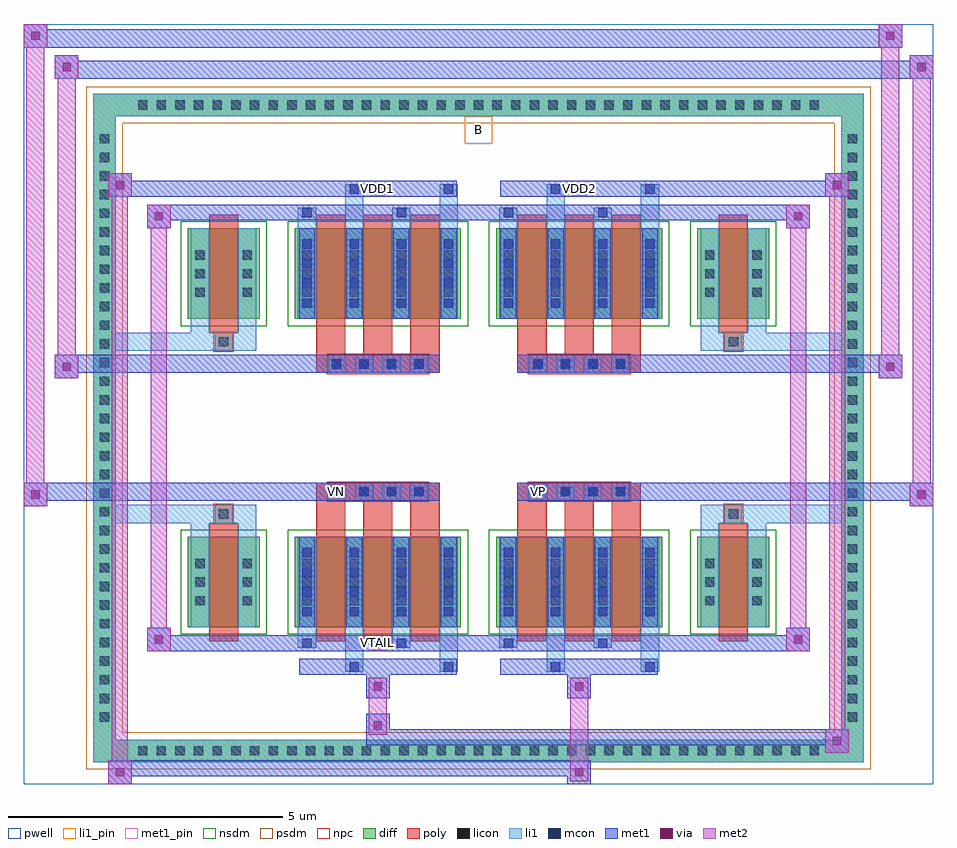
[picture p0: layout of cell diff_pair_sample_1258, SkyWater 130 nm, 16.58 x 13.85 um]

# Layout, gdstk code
import gdstk
lib = gdstk.Library(unit=1e-6, precision=5e-09)
def R(c, l, rs):  # rectangles x0, y0, x1, y1
    for r in rs: c.add(gdstk.rectangle(r[:2], r[2:], *l))
def A(c, l, x, y, w, h, nx, ny, dx, dy):  # array of equal rectangles
    R(c, l, [(x+i*dx, y+j*dy, x+i*dx+w, y+j*dy+h) for i in range(nx) for j in range(ny)])
def P(c, l, *ps):  # polygons
    for p in ps: c.add(gdstk.Polygon(p, *l))
pwell = (64, 44)
diff = (65, 20)
poly = (66, 20)
licon = (66, 44)
li1_pin = (67, 16)
li1 = (67, 20)
mcon = (67, 44)
met1_pin = (68, 16)
met1 = (68, 20)
via = (68, 44)
met2 = (69, 20)
nsdm = (93, 44)
psdm = (94, 20)
npc = (95, 20)

diff_pair_sample_1258 = lib.new_cell('diff_pair_sample_1258')
R(diff_pair_sample_1258, pwell, [(-8.29,-6.49,8.29,7.36), (-5.61,-4.68,-0.01,-0.8), (0.01,-4.68,5.61,-0.8), (-5.61,0.8,-0.01,4.68), (0.01,0.8,5.61,4.68)])
A(diff_pair_sample_1258, diff, -6.325, -6.09, 0.41, 0.41, 37, 2, 0.34, 11.77)
A(diff_pair_sample_1258, diff, -7.02, -5.475, 0.41, 0.41, 1, 32, 0, 0.34)
A(diff_pair_sample_1258, diff, 6.61, -5.475, 0.41, 0.41, 1, 32, 0, 0.34)
R(diff_pair_sample_1258, diff, [(-6.325,-6.09,6.325,-5.68), (-7.02,-5.475,-6.61,5.475), (6.61,-5.475,7.02,5.475), (-5.3,-3.635,-3.99,-1.985), (-3.35,-3.635,-0.32,-1.985), (0.32,-3.635,3.35,-1.985), (3.99,-3.635,5.3,-1.985), (-5.3,1.985,-3.99,3.635), (-3.35,1.985,-0.32,3.635), (0.32,1.985,3.35,3.635), (3.99,1.985,5.3,3.635), (-6.325,5.68,6.325,6.09)])
P(diff_pair_sample_1258, diff, [(7.02,6.09),(-7.02,6.09),(-7.02,-5.68),(-6.61,-5.68),(-6.61,5.68),(6.61,5.68),(6.61,-5.68),(-6.61,-5.68),(-7.02,-5.68),(-7.02,-6.09),(7.02,-6.09)])
A(diff_pair_sample_1258, poly, -2.96, -3.885, 0.53, 2.15, 3, 2, 0.86, 5.62)
A(diff_pair_sample_1258, poly, 0.71, -3.885, 0.53, 2.15, 3, 2, 0.86, 5.62)
A(diff_pair_sample_1258, poly, -2.96, -1.735, 0.53, 0.405, 3, 2, 0.86, 3.065)
A(diff_pair_sample_1258, poly, 0.71, -1.735, 0.53, 0.405, 3, 2, 0.86, 3.065)
A(diff_pair_sample_1258, poly, -2.75, -1.33, 0.33, 0.33, 4, 2, 0.5, 2.33)
A(diff_pair_sample_1258, poly, 0.92, -1.33, 0.33, 0.33, 4, 2, 0.5, 2.33)
R(diff_pair_sample_1258, poly, [(-4.91,-3.885,-4.38,-1.735), (4.38,-3.885,4.91,-1.735), (-4.81,-1.735,-4.48,-1.405), (-4.81,-1.735,-4.48,-1.405), (4.48,-1.735,4.81,-1.405), (4.48,-1.735,4.81,-1.405), (-2.96,-1.33,-0.71,-1), (0.71,-1.33,2.96,-1), (-2.96,1,-0.71,1.33), (0.71,1,2.96,1.33), (-4.81,1.405,-4.48,1.735), (-4.81,1.405,-4.48,1.735), (4.48,1.405,4.81,1.735), (4.48,1.405,4.81,1.735), (-4.91,1.735,-4.38,3.885), (4.38,1.735,4.91,3.885)])
A(diff_pair_sample_1258, licon, -6.205, -5.97, 0.17, 0.17, 37, 2, 0.34, 11.77)
A(diff_pair_sample_1258, licon, -6.9, -5.355, 0.17, 0.17, 1, 32, 0, 0.34)
A(diff_pair_sample_1258, licon, 6.73, -5.355, 0.17, 0.17, 1, 32, 0, 0.34)
A(diff_pair_sample_1258, licon, -5.16, -3.235, 0.17, 0.17, 1, 3, 0, 0.34)
A(diff_pair_sample_1258, licon, -4.3, -3.235, 0.17, 0.17, 1, 3, 0, 0.34)
A(diff_pair_sample_1258, licon, -3.21, -3.235, 0.17, 0.17, 4, 3, 0.86, 0.34)
A(diff_pair_sample_1258, licon, 0.46, -3.235, 0.17, 0.17, 4, 3, 0.86, 0.34)
A(diff_pair_sample_1258, licon, 4.13, -3.235, 0.17, 0.17, 1, 3, 0, 0.34)
A(diff_pair_sample_1258, licon, 4.99, -3.235, 0.17, 0.17, 1, 3, 0, 0.34)
A(diff_pair_sample_1258, licon, -2.67, -1.25, 0.17, 0.17, 4, 2, 0.5, 2.33)
A(diff_pair_sample_1258, licon, 1, -1.25, 0.17, 0.17, 4, 2, 0.5, 2.33)
A(diff_pair_sample_1258, licon, -5.16, 2.385, 0.17, 0.17, 1, 3, 0, 0.34)
A(diff_pair_sample_1258, licon, -4.3, 2.385, 0.17, 0.17, 1, 3, 0, 0.34)
A(diff_pair_sample_1258, licon, -3.21, 2.385, 0.17, 0.17, 4, 3, 0.86, 0.34)
A(diff_pair_sample_1258, licon, 0.46, 2.385, 0.17, 0.17, 4, 3, 0.86, 0.34)
A(diff_pair_sample_1258, licon, 4.13, 2.385, 0.17, 0.17, 1, 3, 0, 0.34)
A(diff_pair_sample_1258, licon, 4.99, 2.385, 0.17, 0.17, 1, 3, 0, 0.34)
R(diff_pair_sample_1258, licon, [(-4.73,-1.655,-4.56,-1.485), (4.56,-1.655,4.73,-1.485), (-4.73,1.485,-4.56,1.655), (4.56,1.485,4.73,1.655)])
R(diff_pair_sample_1258, li1_pin, [(-0.25,5.18,0.25,5.68)])
A(diff_pair_sample_1258, li1, -6.285, -6.05, 0.33, 0.33, 37, 2, 0.34, 11.77)
A(diff_pair_sample_1258, li1, -6.98, -5.435, 0.33, 0.33, 1, 32, 0, 0.34)
A(diff_pair_sample_1258, li1, 6.65, -5.435, 0.33, 0.33, 1, 32, 0, 0.34)
A(diff_pair_sample_1258, li1, -3.29, -3.635, 0.33, 1.65, 4, 2, 0.86, 5.62)
A(diff_pair_sample_1258, li1, 0.38, -3.635, 0.33, 1.65, 4, 2, 0.86, 5.62)
A(diff_pair_sample_1258, li1, -3.21, -3.435, 0.17, 0.17, 4, 4, 0.86, 0.36)
A(diff_pair_sample_1258, li1, -3.21, -3.435, 0.17, 1.25, 4, 2, 0.86, 5.62)
A(diff_pair_sample_1258, li1, 0.46, -3.435, 0.17, 0.17, 4, 4, 0.86, 0.36)
A(diff_pair_sample_1258, li1, 0.46, -3.435, 0.17, 1.25, 4, 2, 0.86, 5.62)
A(diff_pair_sample_1258, li1, -5.24, -3.315, 0.33, 0.33, 1, 3, 0, 0.34)
A(diff_pair_sample_1258, li1, -4.38, -3.315, 0.33, 0.33, 1, 3, 0, 0.34)
A(diff_pair_sample_1258, li1, -3.29, -3.315, 0.33, 0.33, 4, 3, 0.86, 0.34)
A(diff_pair_sample_1258, li1, 0.38, -3.315, 0.33, 0.33, 4, 3, 0.86, 0.34)
A(diff_pair_sample_1258, li1, 4.05, -3.315, 0.33, 0.33, 1, 3, 0, 0.34)
A(diff_pair_sample_1258, li1, 4.91, -3.315, 0.33, 0.33, 1, 3, 0, 0.34)
A(diff_pair_sample_1258, li1, -2.75, -1.33, 0.33, 0.33, 4, 2, 0.5, 2.33)
A(diff_pair_sample_1258, li1, 0.92, -1.33, 0.33, 0.33, 4, 2, 0.5, 2.33)
A(diff_pair_sample_1258, li1, -3.21, 2.185, 0.17, 0.17, 4, 4, 0.86, 0.36)
A(diff_pair_sample_1258, li1, 0.46, 2.185, 0.17, 0.17, 4, 4, 0.86, 0.36)
A(diff_pair_sample_1258, li1, -5.24, 2.305, 0.33, 0.33, 1, 3, 0, 0.34)
A(diff_pair_sample_1258, li1, -4.38, 2.305, 0.33, 0.33, 1, 3, 0, 0.34)
A(diff_pair_sample_1258, li1, -3.29, 2.305, 0.33, 0.33, 4, 3, 0.86, 0.34)
A(diff_pair_sample_1258, li1, 0.38, 2.305, 0.33, 0.33, 4, 3, 0.86, 0.34)
A(diff_pair_sample_1258, li1, 4.05, 2.305, 0.33, 0.33, 1, 3, 0, 0.34)
A(diff_pair_sample_1258, li1, 4.91, 2.305, 0.33, 0.33, 1, 3, 0, 0.34)
R(diff_pair_sample_1258, li1, [(-7.02,-6.09,-6.61,-5.68), (-7.02,-6.09,-6.61,-5.68), (-6.61,-6.09,6.61,-5.68), (6.61,-6.09,7.02,-5.68), (6.61,-6.09,7.02,-5.68), (-7.02,-5.68,-6.61,5.68), (6.61,-5.68,7.02,5.68), (-2.43,-4.44,-2.1,-3.635), (-2.35,-4.44,-2.18,-4.27), (-0.71,-4.44,-0.38,-3.635), (-0.63,-4.44,-0.46,-4.27), (1.24,-4.44,1.57,-3.635), (1.32,-4.44,1.49,-4.27), (2.96,-4.44,3.29,-3.635), (3.04,-4.44,3.21,-4.27), (-3.29,-4.01,-2.96,-3.635), (-3.21,-4.01,-3.04,-3.84), (-1.57,-4.01,-1.24,-3.635), (-1.49,-4.01,-1.32,-3.84), (0.38,-4.01,0.71,-3.635), (0.46,-4.01,0.63,-3.84), (2.1,-4.01,2.43,-3.635), (2.18,-4.01,2.35,-3.84), (-5.24,-3.635,-4.91,-1.985), (-4.38,-3.635,-4.05,-1.985), (4.05,-3.635,4.38,-1.985), (4.91,-3.635,5.24,-1.985), (-5.24,-1.985,-4.91,-1.405), (-4.38,-1.985,-4.05,-1.405), (4.05,-1.985,4.38,-1.405), (4.91,-1.985,5.24,-1.405), (-7.02,-1.735,-4.81,-1.405), (-5.24,-1.735,-4.81,-1.405), (-4.81,-1.735,-4.48,-1.405), (-4.48,-1.735,-4.05,-1.405), (4.05,-1.735,4.48,-1.405), (4.48,-1.735,4.81,-1.405), (4.48,-1.735,7.02,-1.405), (4.81,-1.735,5.24,-1.405), (-7.02,1.405,-4.81,1.735), (-5.24,1.405,-4.81,1.735), (-5.24,1.405,-4.91,1.985), (-4.81,1.405,-4.48,1.735), (-4.48,1.405,-4.05,1.735), (-4.38,1.405,-4.05,1.985), (4.05,1.405,4.48,1.735), (4.05,1.405,4.38,1.985), (4.48,1.405,4.81,1.735), (4.48,1.405,7.02,1.735), (4.81,1.405,5.24,1.735), (4.91,1.405,5.24,1.985), (-5.24,1.985,-4.91,3.635), (-4.38,1.985,-4.05,3.635), (4.05,1.985,4.38,3.635), (4.91,1.985,5.24,3.635), (-3.29,3.635,-2.96,4.01), (-2.43,3.635,-2.1,4.44), (-1.57,3.635,-1.24,4.01), (-0.71,3.635,-0.38,4.44), (0.38,3.635,0.71,4.01), (1.24,3.635,1.57,4.44), (2.1,3.635,2.43,4.01), (2.96,3.635,3.29,4.44), (-3.21,3.84,-3.04,4.01), (-1.49,3.84,-1.32,4.01), (0.46,3.84,0.63,4.01), (2.18,3.84,2.35,4.01), (-2.35,4.27,-2.18,4.44), (-0.63,4.27,-0.46,4.44), (1.32,4.27,1.49,4.44), (3.04,4.27,3.21,4.44), (-7.02,5.68,-6.61,6.09), (-7.02,5.68,-6.61,6.09), (-6.61,5.68,6.61,6.09), (6.61,5.68,7.02,6.09), (6.61,5.68,7.02,6.09)])
A(diff_pair_sample_1258, mcon, -3.21, -3.435, 0.17, 0.17, 4, 4, 0.86, 0.36)
A(diff_pair_sample_1258, mcon, 0.46, -3.435, 0.17, 0.17, 4, 4, 0.86, 0.36)
A(diff_pair_sample_1258, mcon, -2.67, -1.25, 0.17, 0.17, 4, 2, 0.5, 2.33)
A(diff_pair_sample_1258, mcon, 1, -1.25, 0.17, 0.17, 4, 2, 0.5, 2.33)
A(diff_pair_sample_1258, mcon, -3.21, 2.185, 0.17, 0.17, 4, 4, 0.86, 0.36)
A(diff_pair_sample_1258, mcon, 0.46, 2.185, 0.17, 0.17, 4, 4, 0.86, 0.36)
R(diff_pair_sample_1258, mcon, [(-2.35,-4.44,-2.18,-4.27), (-0.63,-4.44,-0.46,-4.27), (1.32,-4.44,1.49,-4.27), (3.04,-4.44,3.21,-4.27), (-3.21,-4.01,-3.04,-3.84), (-1.49,-4.01,-1.32,-3.84), (0.46,-4.01,0.63,-3.84), (2.18,-4.01,2.35,-3.84), (-3.21,3.84,-3.04,4.01), (-1.49,3.84,-1.32,4.01), (0.46,3.84,0.63,4.01), (2.18,3.84,2.35,4.01), (-2.35,4.27,-2.18,4.44), (-0.63,4.27,-0.46,4.44), (1.32,4.27,1.49,4.44), (3.04,4.27,3.21,4.44)])
R(diff_pair_sample_1258, met1_pin, [(-1.97,-4.05,-1.7,-3.78), (-2.72,-1.29,-2.45,-1.02), (0.95,-1.29,1.22,-1.02), (-1.97,4.23,-1.7,4.5), (1.7,4.23,1.97,4.5)])
A(diff_pair_sample_1258, met1, -3.27, -3.635, 0.29, 1.65, 4, 2, 0.86, 5.62)
A(diff_pair_sample_1258, met1, 0.4, -3.635, 0.29, 1.65, 4, 2, 0.86, 5.62)
A(diff_pair_sample_1258, met1, -3.27, -3.495, 0.29, 0.29, 4, 4, 0.86, 0.36)
A(diff_pair_sample_1258, met1, 0.4, -3.495, 0.29, 0.29, 4, 4, 0.86, 0.36)
A(diff_pair_sample_1258, met1, -2.73, -1.31, 0.29, 0.29, 4, 2, 0.5, 2.33)
A(diff_pair_sample_1258, met1, 0.94, -1.31, 0.29, 0.29, 4, 2, 0.5, 2.33)
A(diff_pair_sample_1258, met1, -3.27, 2.125, 0.29, 0.29, 4, 4, 0.86, 0.36)
A(diff_pair_sample_1258, met1, 0.4, 2.125, 0.29, 0.29, 4, 4, 0.86, 0.36)
R(diff_pair_sample_1258, met1, [(-6.75,-6.49,-6.32,-6.06), (1.62,-6.49,2.05,-6.06), (-6.75,-6.35,2.05,-6.06), (6.32,-5.92,6.75,-5.49), (-2.05,-5.78,6.75,-5.49), (-2.05,-5.64,-1.62,-5.21), (-2.05,-4.93,-1.62,-4.5), (1.62,-4.93,2.05,-4.5), (-3.27,-4.5,-0.4,-4.21), (-2.41,-4.5,-2.12,-4.21), (-0.69,-4.5,-0.4,-4.21), (0.4,-4.5,3.27,-4.21), (1.26,-4.5,1.55,-4.21), (2.98,-4.5,3.27,-4.21), (-6.04,-4.07,-5.61,-3.64), (-6.04,-4.07,-3.27,-3.78), (-3.27,-4.07,-2.98,-3.78), (-3.27,-4.07,-0.4,-3.78), (-1.55,-4.07,-1.26,-3.78), (-0.4,-4.07,0.4,-3.78), (0.4,-4.07,0.69,-3.78), (0.4,-4.07,3.27,-3.78), (2.12,-4.07,2.41,-3.78), (3.27,-4.07,6.04,-3.78), (5.61,-4.07,6.04,-3.64), (-8.29,-1.43,-7.86,-1), (7.86,-1.43,8.29,-1), (-8.29,-1.33,-0.71,-1), (-2.96,-1.33,-0.71,-1), (0.71,-1.33,2.96,-1), (0.71,-1.33,8.29,-1), (-7.72,0.9,-7.29,1.33), (7.29,0.9,7.72,1.33), (-7.72,1,-2.96,1.33), (-2.96,1,-0.71,1.33), (0.71,1,2.96,1.33), (2.96,1,7.72,1.33), (-6.04,3.64,-5.61,4.07), (5.61,3.64,6.04,4.07), (-6.04,3.78,-3.27,4.07), (-3.27,3.78,-2.98,4.07), (-3.27,3.78,-0.4,4.07), (-1.55,3.78,-1.26,4.07), (-0.4,3.78,0.4,4.07), (0.4,3.78,0.69,4.07), (0.4,3.78,3.27,4.07), (2.12,3.78,2.41,4.07), (3.27,3.78,6.04,4.07), (-6.75,4.21,-6.32,4.64), (-6.75,4.21,-3.27,4.5), (-3.27,4.21,-0.4,4.5), (-2.41,4.21,-2.12,4.5), (-0.69,4.21,-0.4,4.5), (0.4,4.21,3.27,4.5), (1.26,4.21,1.55,4.5), (2.98,4.21,3.27,4.5), (3.27,4.21,6.75,4.5), (6.32,4.21,6.75,4.64), (-7.72,6.36,-7.29,6.79), (-7.72,6.36,-5.61,6.69), (-5.61,6.36,5.61,6.69), (5.61,6.36,8.29,6.69), (7.86,6.36,8.29,6.79), (-8.29,6.93,-7.86,7.36), (-8.29,6.93,-5.61,7.26), (-5.61,6.93,5.61,7.26), (5.61,6.93,7.72,7.26), (7.29,6.93,7.72,7.36)])
R(diff_pair_sample_1258, via, [(-6.61,-6.35,-6.46,-6.2), (1.76,-6.35,1.91,-6.2), (6.46,-5.78,6.61,-5.63), (-1.91,-5.5,-1.76,-5.35), (-1.91,-4.79,-1.76,-4.64), (1.76,-4.79,1.91,-4.64), (-5.9,-3.93,-5.75,-3.78), (5.75,-3.93,5.9,-3.78), (-8.15,-1.29,-8,-1.14), (8,-1.29,8.15,-1.14), (-7.58,1.04,-7.43,1.19), (7.43,1.04,7.58,1.19), (-5.9,3.78,-5.75,3.93), (5.75,3.78,5.9,3.93), (-6.61,4.35,-6.46,4.5), (6.46,4.35,6.61,4.5), (-7.58,6.5,-7.43,6.65), (8,6.5,8.15,6.65), (-8.15,7.07,-8,7.22), (7.43,7.07,7.58,7.22)])
R(diff_pair_sample_1258, met2, [(-6.75,-6.49,-6.32,-6.06), (-6.68,-6.49,-6.39,4.64), (-6.39,-6.49,-6.32,-6.06), (-6.7,-6.44,-6.37,-6.11), (1.67,-6.44,2,-6.11), (1.67,-6.11,2,-4.88), (6.32,-5.92,6.75,-5.49), (6.39,-5.92,6.68,4.64), (6.68,-5.92,6.75,-5.49), (6.37,-5.87,6.7,-5.54), (-2,-5.59,-1.67,-5.26), (-2,-5.26,-1.67,-4.88), (-2,-4.88,-1.67,-4.55), (1.67,-4.88,2,-4.55), (-6.04,-4.07,-5.61,-3.64), (-5.97,-4.07,-5.68,4.07), (-5.68,-4.07,-5.61,-3.64), (5.61,-4.07,6.04,-3.64), (5.68,-4.07,5.97,4.07), (5.97,-4.07,6.04,-3.64), (-5.99,-4.02,-5.66,-3.69), (5.66,-4.02,5.99,-3.69), (-8.29,-1.43,-7.86,-1), (-8.24,-1.43,-7.91,7.36), (-7.91,-1.43,-7.86,-1), (7.86,-1.43,8.29,-1), (7.91,-1.43,8.24,6.79), (8.24,-1.43,8.29,-1), (-8.24,-1.38,-7.91,-1.05), (7.91,-1.38,8.24,-1.05), (-7.72,0.9,-7.29,1.33), (-7.67,0.9,-7.34,6.79), (-7.34,0.9,-7.29,1.33), (7.29,0.9,7.72,1.33), (7.34,0.9,7.67,7.36), (7.67,0.9,7.72,1.33), (-7.67,0.95,-7.34,1.28), (7.34,0.95,7.67,1.28), (-6.04,3.64,-5.61,4.07), (-5.68,3.64,-5.61,4.07), (5.61,3.64,6.04,4.07), (5.97,3.64,6.04,4.07), (-5.99,3.69,-5.66,4.02), (5.66,3.69,5.99,4.02), (-6.75,4.21,-6.32,4.64), (-6.39,4.21,-6.32,4.64), (6.32,4.21,6.75,4.64), (6.68,4.21,6.75,4.64), (-6.7,4.26,-6.37,4.59), (6.37,4.26,6.7,4.59), (-7.72,6.36,-7.29,6.79), (-7.34,6.36,-7.29,6.79), (7.86,6.36,8.29,6.79), (8.24,6.36,8.29,6.79), (-7.67,6.41,-7.34,6.74), (7.91,6.41,8.24,6.74), (-8.29,6.93,-7.86,7.36), (-7.91,6.93,-7.86,7.36), (7.29,6.93,7.72,7.36), (7.67,6.93,7.72,7.36), (-8.24,6.98,-7.91,7.31), (7.34,6.98,7.67,7.31)])
R(diff_pair_sample_1258, nsdm, [(-5.43,-3.765,-3.86,-1.855), (-3.48,-3.765,-0.19,-1.855), (0.19,-3.765,3.48,-1.855), (3.86,-3.765,5.43,-1.855), (-5.43,1.855,-3.86,3.765), (-3.48,1.855,-0.19,3.765), (0.19,1.855,3.48,3.765), (3.86,1.855,5.43,3.765)])
P(diff_pair_sample_1258, psdm, [(7.15,6.22),(-7.15,6.22),(-7.15,-5.55),(-6.48,-5.55),(-6.48,5.55),(6.48,5.55),(6.48,-5.55),(-6.48,-5.55),(-7.15,-5.55),(-7.15,-6.22),(7.15,-6.22)])
A(diff_pair_sample_1258, npc, -2.77, -1.35, 0.37, 0.37, 4, 2, 0.5, 2.33)
A(diff_pair_sample_1258, npc, 0.9, -1.35, 0.37, 0.37, 4, 2, 0.5, 2.33)
R(diff_pair_sample_1258, npc, [(-4.83,-1.755,-4.46,-1.385), (4.46,-1.755,4.83,-1.385), (-2.77,-1.35,-1.9,-0.98), (-2.77,-1.35,-1.9,-0.98), (-2.27,-1.35,-1.4,-0.98), (-2.27,-1.35,-1.4,-0.98), (-1.77,-1.35,-0.9,-0.98), (-1.77,-1.35,-0.9,-0.98), (0.9,-1.35,1.77,-0.98), (0.9,-1.35,1.77,-0.98), (1.4,-1.35,2.27,-0.98), (1.4,-1.35,2.27,-0.98), (1.9,-1.35,2.77,-0.98), (1.9,-1.35,2.77,-0.98), (-2.77,0.98,-1.9,1.35), (-2.77,0.98,-1.9,1.35), (-2.27,0.98,-1.4,1.35), (-2.27,0.98,-1.4,1.35), (-1.77,0.98,-0.9,1.35), (-1.77,0.98,-0.9,1.35), (0.9,0.98,1.77,1.35), (0.9,0.98,1.77,1.35), (1.4,0.98,2.27,1.35), (1.4,0.98,2.27,1.35), (1.9,0.98,2.77,1.35), (1.9,0.98,2.77,1.35), (-4.83,1.385,-4.46,1.755), (4.46,1.385,4.83,1.755)])
diff_pair_sample_1258.add(gdstk.Label('VTAIL', (-1.835,-3.915), layer=68, texttype=5))
diff_pair_sample_1258.add(gdstk.Label('VN', (-2.585,-1.155), layer=68, texttype=5))
diff_pair_sample_1258.add(gdstk.Label('VP', (1.085,-1.155), layer=68, texttype=5))
diff_pair_sample_1258.add(gdstk.Label('B', (0,5.43), layer=67, texttype=5))
diff_pair_sample_1258.add(gdstk.Label('VDD2', (1.835,4.365), layer=68, texttype=5))
diff_pair_sample_1258.add(gdstk.Label('VDD1', (-1.835,4.365), layer=68, texttype=5))

lib.write_gds('diff_pair_sample_1258.gds')
